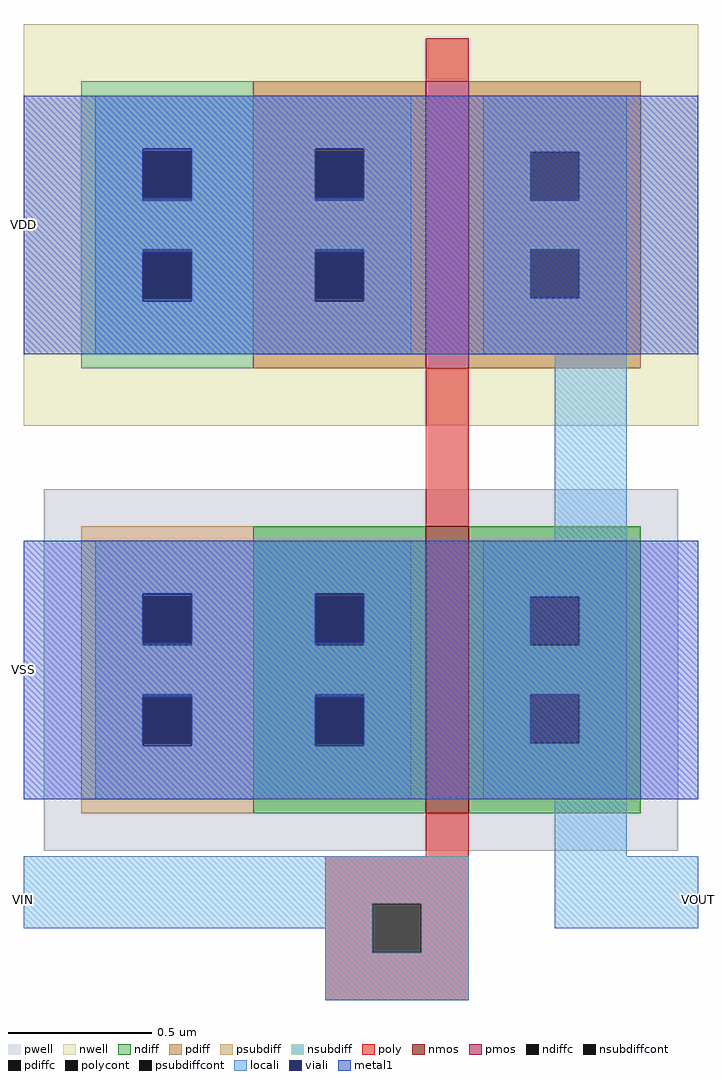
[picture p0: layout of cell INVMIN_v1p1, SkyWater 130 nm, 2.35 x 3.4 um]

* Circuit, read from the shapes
.subckt INVMIN_v1p1 VIN VOUT VDD VSS
XM1 VOUT VIN VSS VSS sky130_fd_pr__nfet_01v8 w=1 l=0.15
XM2 VOUT VIN VDD VDD sky130_fd_pr__pfet_01v8 w=1 l=0.15
.ends

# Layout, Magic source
magic
tech sky130A
magscale 1 2
<< nwell >>
rect -300 250 170 530
<< pwell >>
rect -286 -46 156 206
<< nmos >>
rect -20 -20 10 180
<< pmos >>
rect -20 290 10 490
<< ndiff >>
rect -140 131 -20 180
rect -140 97 -97 131
rect -63 97 -20 131
rect -140 63 -20 97
rect -140 29 -97 63
rect -63 29 -20 63
rect -140 -20 -20 29
rect 10 131 130 180
rect 10 97 53 131
rect 87 97 130 131
rect 10 63 130 97
rect 10 29 53 63
rect 87 29 130 63
rect 10 -20 130 29
<< pdiff >>
rect -140 441 -20 490
rect -140 407 -97 441
rect -63 407 -20 441
rect -140 373 -20 407
rect -140 339 -97 373
rect -63 339 -20 373
rect -140 290 -20 339
rect 10 441 130 490
rect 10 407 53 441
rect 87 407 130 441
rect 10 373 130 407
rect 10 339 53 373
rect 87 339 130 373
rect 10 290 130 339
<< ndiffc >>
rect -97 97 -63 131
rect -97 29 -63 63
rect 53 97 87 131
rect 53 29 87 63
<< pdiffc >>
rect -97 407 -63 441
rect -97 339 -63 373
rect 53 407 87 441
rect 53 339 87 373
<< psubdiff >>
rect -260 131 -140 180
rect -260 97 -217 131
rect -183 97 -140 131
rect -260 63 -140 97
rect -260 29 -217 63
rect -183 29 -140 63
rect -260 -20 -140 29
<< nsubdiff >>
rect -260 441 -140 490
rect -260 407 -217 441
rect -183 407 -140 441
rect -260 373 -140 407
rect -260 339 -217 373
rect -183 339 -140 373
rect -260 290 -140 339
<< psubdiffcont >>
rect -217 97 -183 131
rect -217 29 -183 63
<< nsubdiffcont >>
rect -217 407 -183 441
rect -217 339 -183 373
<< poly >>
rect -20 490 10 520
rect -20 180 10 290
rect -20 -50 10 -20
rect -90 -83 10 -50
rect -90 -117 -57 -83
rect -23 -117 10 -83
rect -90 -150 10 -117
<< polycont >>
rect -57 -117 -23 -83
<< locali >>
rect -250 443 -30 480
rect -250 407 -217 443
rect -183 407 -97 443
rect -63 407 -30 443
rect -250 373 -30 407
rect -250 337 -217 373
rect -183 337 -97 373
rect -63 337 -30 373
rect -250 300 -30 337
rect 20 441 120 480
rect 20 407 53 441
rect 87 407 120 441
rect 20 373 120 407
rect 20 339 53 373
rect 87 339 120 373
rect 20 300 120 339
rect 70 170 120 300
rect -250 133 -30 170
rect -250 97 -217 133
rect -183 97 -97 133
rect -63 97 -30 133
rect -250 63 -30 97
rect -250 27 -217 63
rect -183 27 -97 63
rect -63 27 -30 63
rect -250 -10 -30 27
rect 20 131 120 170
rect 20 97 53 131
rect 87 97 120 131
rect 20 63 120 97
rect 20 29 53 63
rect 87 29 120 63
rect 20 -10 120 29
rect 70 -50 120 -10
rect -300 -83 10 -50
rect -300 -100 -57 -83
rect -90 -117 -57 -100
rect -23 -117 10 -83
rect 70 -100 170 -50
rect -90 -150 10 -117
<< viali >>
rect -217 441 -183 443
rect -217 409 -183 441
rect -97 441 -63 443
rect -97 409 -63 441
rect -217 339 -183 371
rect -217 337 -183 339
rect -97 339 -63 371
rect -97 337 -63 339
rect -217 131 -183 133
rect -217 99 -183 131
rect -97 131 -63 133
rect -97 99 -63 131
rect -217 29 -183 61
rect -217 27 -183 29
rect -97 29 -63 61
rect -97 27 -63 29
<< metal1 >>
rect -300 443 170 480
rect -300 409 -217 443
rect -183 409 -97 443
rect -63 409 170 443
rect -300 371 170 409
rect -300 337 -217 371
rect -183 337 -97 371
rect -63 337 170 371
rect -300 300 170 337
rect -300 133 170 170
rect -300 99 -217 133
rect -183 99 -97 133
rect -63 99 170 133
rect -300 61 170 99
rect -300 27 -217 61
rect -183 27 -97 61
rect -63 27 170 61
rect -300 -10 170 27
<< labels >>
rlabel locali s -300 -80 -300 -80 4 VIN
port 1 nsew
rlabel locali s 170 -80 170 -80 4 VOUT
port 2 nsew
rlabel metal1 s -300 390 -300 390 4 VDD
port 3 nsew
rlabel metal1 s -300 80 -300 80 4 VSS
port 4 nsew
<< end >>
